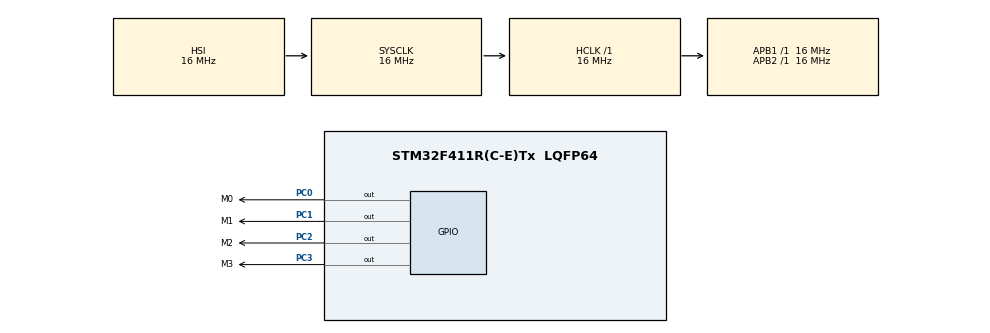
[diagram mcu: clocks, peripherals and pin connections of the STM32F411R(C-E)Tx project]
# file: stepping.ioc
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Mcu.Family=STM32F4
Mcu.Name=STM32F411R(C-E)Tx
Mcu.Package=LQFP64
NVIC.PriorityGroup=NVIC_PRIORITYGROUP_4
PC0.GPIO_Label=M0
PC0.Signal=GPIO_Output
PC1.GPIO_Label=M1
PC1.Signal=GPIO_Output
PC2.GPIO_Label=M2
PC2.Signal=GPIO_Output
PC3.GPIO_Label=M3
PC3.Signal=GPIO_Output
ProjectManager.HeapSize=0x200
ProjectManager.StackSize=0x400
ProjectManager.TargetToolchain=STM32CubeIDE
RCC.AHBFreq_Value=16000000
RCC.APB1Freq_Value=16000000
RCC.APB2Freq_Value=16000000
RCC.CortexFreq_Value=16000000
RCC.HSE_VALUE=25000000
RCC.HSI_VALUE=16000000
RCC.LSE_VALUE=32768
RCC.SYSCLKFreq_VALUE=16000000
RCC.VCOOutputFreq_Value=192000000
board=custom

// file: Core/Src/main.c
/* USER CODE BEGIN Header */
/**
  ******************************************************************************
  * @file           : main.c
  * @brief          : Main program body
  ******************************************************************************
  * @attention
  *
  * Copyright (c) 2023 STMicroelectronics.
  * All rights reserved.
  *
  * This software is licensed under terms that can be found in the LICENSE file
  * in the root directory of this software component.
  * If no LICENSE file comes with this software, it is provided AS-IS.
  *
  ******************************************************************************
  */
/* USER CODE END Header */
#include "main.h"

void SystemClock_Config(void);
static void MX_GPIO_Init(void);

/* USER CODE BEGIN 0 */
void setMoter(int dir, int angle)
{
	/* M0 M1 M2 M3
	 * 1  0  0  0
	 * 1  0  1  0
	 * 0  0  1  0
	 * 0  1  1  0
	 * 0  1  0  0
	 * 0  1  0  1
	 * 0  0  0  1
	 * 1  0  0  1
	 *
	 */
	uint8_t stepLut[] =
			{
					0b1000,
					0b1010,
					0b0010,
					0b0110,
					0b0100,
					0b0101,
					0b0001,
					0b1001
			};
	static curStep = 0;
	if(dir){
			curStep++;
			curStep %= 8;
	}
	else
		{
			curStep--;
			if(curStep < 0 ) curStep = 7;
		}
	GPIOC->ODR = (GPIOC->IDR & 0xfff0) | stepLut[curStep];
	/*HAL_GPIO_WritePin(M0_GPIO_Port, M0_Pin, (stepLut[curStep] & (1<<0) > 0 ? 1 : 0));
	HAL_GPIO_WritePin(M0_GPIO_Port, M0_Pin, (stepLut[curStep] & (1<<1) > 0 ? 1 : 0));
	HAL_GPIO_WritePin(M0_GPIO_Port, M0_Pin, (stepLut[curStep] & (1<<2) > 0 ? 1 : 0));
	HAL_GPIO_WritePin(M0_GPIO_Port, M0_Pin, (stepLut[curStep] & (1<<0) > 0 ? 1 : 0));*/

}

/* USER CODE END 0 */

int main(void)
{

  /* MCU Configuration--------------------------------------------------------*/

  /* Reset of all peripherals, Initializes the Flash interface and the Systick. */
  HAL_Init();

  /* Configure the system clock */
  SystemClock_Config();

  /* Initialize all configured peripherals */
  MX_GPIO_Init();

  /* Infinite loop */
  while (1)
  {

    /* USER CODE BEGIN 3 */
  		for(int i=0;i<5000;i++)
  			{
  	  		setMoter(1, 0);
  	  		HAL_Delay(1);
  			}
  		for(int i=0;i<5000;i++)
  		  			{
  		  	  		setMoter(0, 0);
  		  	  		HAL_Delay(1);
  		  			}
  }
  /* USER CODE END 3 */
}

void SystemClock_Config(void)
{
  RCC_OscInitTypeDef RCC_OscInitStruct = {0};
  RCC_ClkInitTypeDef RCC_ClkInitStruct = {0};

  /** Configure the main internal regulator output voltage
  */
  __HAL_RCC_PWR_CLK_ENABLE();
  __HAL_PWR_VOLTAGESCALING_CONFIG(PWR_REGULATOR_VOLTAGE_SCALE1);

  /** Initializes the RCC Oscillators according to the specified parameters
  * in the RCC_OscInitTypeDef structure.
  */
  RCC_OscInitStruct.OscillatorType = RCC_OSCILLATORTYPE_HSI;
  RCC_OscInitStruct.HSIState = RCC_HSI_ON;
  RCC_OscInitStruct.HSICalibrationValue = RCC_HSICALIBRATION_DEFAULT;
  RCC_OscInitStruct.PLL.PLLState = RCC_PLL_NONE;
  if (HAL_RCC_OscConfig(&RCC_OscInitStruct) != HAL_OK)
  {
    Error_Handler();
  }

  /** Initializes the CPU, AHB and APB buses clocks
  */
  RCC_ClkInitStruct.ClockType = RCC_CLOCKTYPE_HCLK|RCC_CLOCKTYPE_SYSCLK
                              |RCC_CLOCKTYPE_PCLK1|RCC_CLOCKTYPE_PCLK2;
  RCC_ClkInitStruct.SYSCLKSource = RCC_SYSCLKSOURCE_HSI;
  RCC_ClkInitStruct.AHBCLKDivider = RCC_SYSCLK_DIV1;
  RCC_ClkInitStruct.APB1CLKDivider = RCC_HCLK_DIV1;
  RCC_ClkInitStruct.APB2CLKDivider = RCC_HCLK_DIV1;

  if (HAL_RCC_ClockConfig(&RCC_ClkInitStruct, FLASH_LATENCY_0) != HAL_OK)
  {
    Error_Handler();
  }
}

static void MX_GPIO_Init(void)
{
  GPIO_InitTypeDef GPIO_InitStruct = {0};

  /* GPIO Ports Clock Enable */
  __HAL_RCC_GPIOC_CLK_ENABLE();

  /*Configure GPIO pin Output Level */
  HAL_GPIO_WritePin(GPIOC, M0_Pin|M1_Pin|M2_Pin|M3_Pin, GPIO_PIN_RESET);

  /*Configure GPIO pins : M0_Pin M1_Pin M2_Pin M3_Pin */
  GPIO_InitStruct.Pin = M0_Pin|M1_Pin|M2_Pin|M3_Pin;
  GPIO_InitStruct.Mode = GPIO_MODE_OUTPUT_PP;
  GPIO_InitStruct.Pull = GPIO_NOPULL;
  GPIO_InitStruct.Speed = GPIO_SPEED_FREQ_LOW;
  HAL_GPIO_Init(GPIOC, &GPIO_InitStruct);

}

void Error_Handler(void)
{
  __disable_irq();
  while (1)
  {
  }
}
